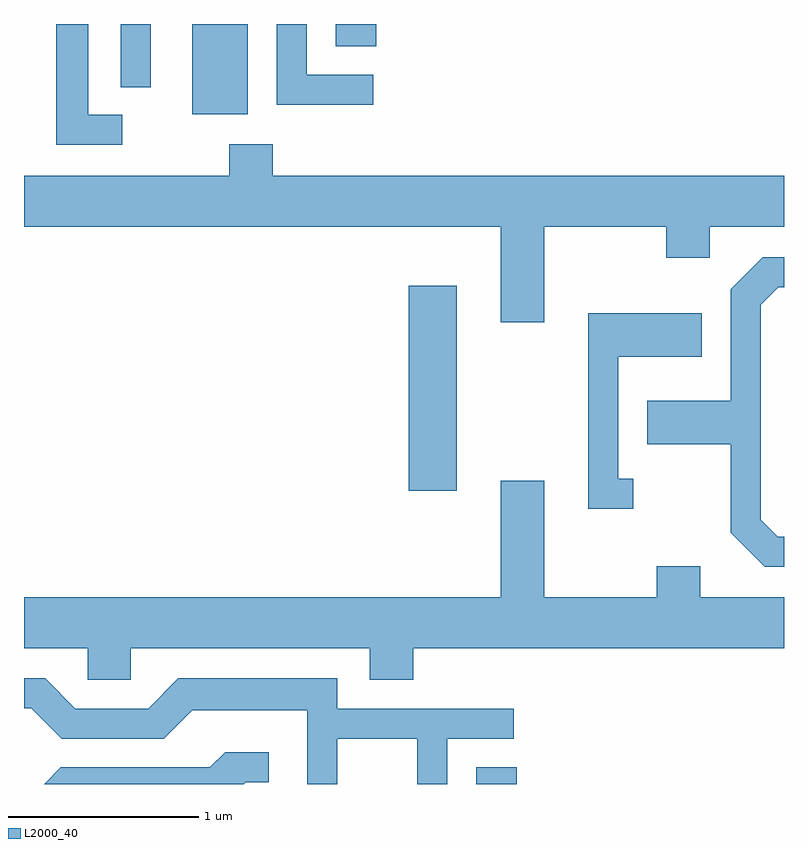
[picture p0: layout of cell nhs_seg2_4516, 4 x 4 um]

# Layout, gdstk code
import gdstk
lib = gdstk.Library(unit=1e-6, precision=1e-09)
def R(c, l, rs):  # rectangles x0, y0, x1, y1
    for r in rs: c.add(gdstk.rectangle(r[:2], r[2:], *l))
def P(c, l, *ps):  # polygons
    for p in ps: c.add(gdstk.Polygon(p, *l))
L2000_40 = (2000, 40)

nhs_seg2_4516 = lib.new_cell('nhs_seg2_4516')
R(nhs_seg2_4516, L2000_40, [(319.991,1069.802,320.204,1069.889), (319.636,1071.346,319.889,1072.424), (318.496,1073.326,318.789,1073.802), (318.121,1073.468,318.279,1073.802), (319.251,1073.686,319.464,1073.802)])
P(nhs_seg2_4516, L2000_40, [(318.128,1073.324),(317.949,1073.324),(317.949,1073.802),(317.781,1073.802),(317.781,1073.166),(318.128,1073.166)],
  [(319.448,1073.534),(319.099,1073.534),(319.099,1073.802),(318.941,1073.802),(318.941,1073.376),(319.448,1073.376)],
  [(320.349,1072.736),(320.991,1072.736),(320.991,1072.571),(321.219,1072.571),(321.219,1072.736),(321.611,1072.736),(321.611,1073.004),(318.919,1073.004),(318.919,1073.169),(318.691,1073.169),(318.691,1073.004),(317.611,1073.004),(317.611,1072.736),(320.121,1072.736),(320.121,1072.231),(320.349,1072.231)],
  [(321.611,1071.104),(321.577,1071.104),(321.489,1071.192),(321.489,1072.324),(321.582,1072.416),(321.611,1072.416),(321.611,1072.574),(321.499,1072.574),(321.331,1072.407),(321.331,1071.819),(320.891,1071.819),(320.891,1071.591),(321.331,1071.591),(321.331,1071.124),(321.509,1070.946),(321.611,1070.946)],
  [(320.818,1071.409),(320.739,1071.409),(320.739,1072.051),(321.179,1072.051),(321.179,1072.279),(320.581,1072.279),(320.581,1071.251),(320.818,1071.251)],
  [(317.611,1070.516),(317.946,1070.516),(317.946,1070.351),(318.174,1070.351),(318.174,1070.516),(319.431,1070.516),(319.431,1070.351),(319.659,1070.351),(319.659,1070.516),(321.611,1070.516),(321.611,1070.784),(321.169,1070.784),(321.169,1070.949),(320.941,1070.949),(320.941,1070.784),(320.349,1070.784),(320.349,1071.399),(320.121,1071.399),(320.121,1070.784),(317.611,1070.784)],
  [(319.259,1070.041),(319.681,1070.041),(319.681,1069.802),(319.839,1069.802),(319.839,1070.041),(320.188,1070.041),(320.188,1070.199),(319.259,1070.199),(319.259,1070.359),(318.424,1070.359),(318.264,1070.199),(317.882,1070.199),(317.722,1070.359),(317.611,1070.359),(317.611,1070.201),(317.649,1070.201),(317.809,1070.041),(318.347,1070.041),(318.497,1070.191),(319.101,1070.191),(319.101,1069.802),(319.259,1069.802)],
  [(318.777,1069.811),(318.898,1069.811),(318.898,1069.969),(318.669,1069.969),(318.589,1069.889),(317.804,1069.889),(317.717,1069.802),(318.768,1069.802)])

lib.write_gds('nhs_seg2_4516.gds')
